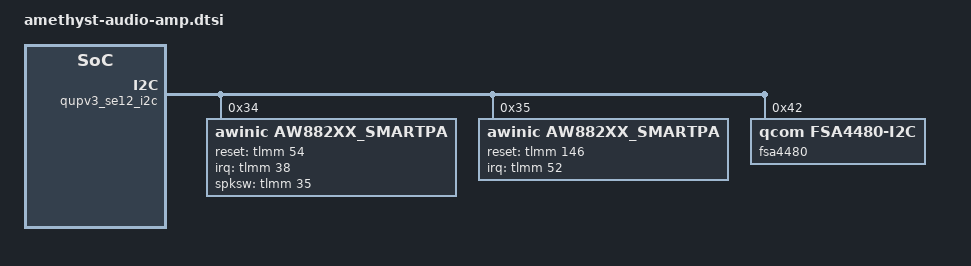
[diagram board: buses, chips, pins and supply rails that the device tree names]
/*
 * Amethyst QUPv3 SE12 I2C: two Awinic AW882xx smart PAs (top 0x34, bottom
 * 0x35) and the FSA4480 USB-C audio switch (0x42).
 *
 * Reconstructed from stock dtbo.img (dtbo.img:1, fragments 44) with
 * scripts/amethyst-dtbo-to-dts.py; labels and references are the stock
 * ones from __symbols__, __fixups__ and __local_fixups__.
 */

&qupv3_se12_i2c {
	status = "ok";

	aw882xx_smartpa@34 {
		compatible = "awinic,aw882xx_smartpa";
		reg = <52>;
		reset-gpio = <&tlmm 54 0>;
		irq-gpio = <&tlmm 38 0x2008>;
		pinctrl-names = "default";
		pinctrl-0 = <&aw882xx_irq_active_top>;
		dc-flag = <0>;
		sound-channel = <0>;
		pll-check-disable;
		aw-cali-mode = "aw_none ";
		spksw-gpio = <&tlmm 35 0>;
		fade-flag = <1>;
		status = "ok";
	};

	aw882xx_smartpa@35 {
		compatible = "awinic,aw882xx_smartpa";
		reg = <53>;
		reset-gpio = <&tlmm 146 0>;
		irq-gpio = <&tlmm 52 0x2008>;
		pinctrl-names = "default";
		pinctrl-0 = <&aw882xx_irq_active_bottom>;
		dc-flag = <0>;
		sound-channel = <1>;
		pll-check-disable;
		aw-re-min = <0xfa0>;
		aw-re-max = <0x7530>;
		aw-cali-mode = "aw_none ";
		status = "ok";
	};

	fsa4480: fsa4480@42 {
		status = "ok";
		compatible = "qcom,fsa4480-i2c";
		reg = <66>;
	};
};
